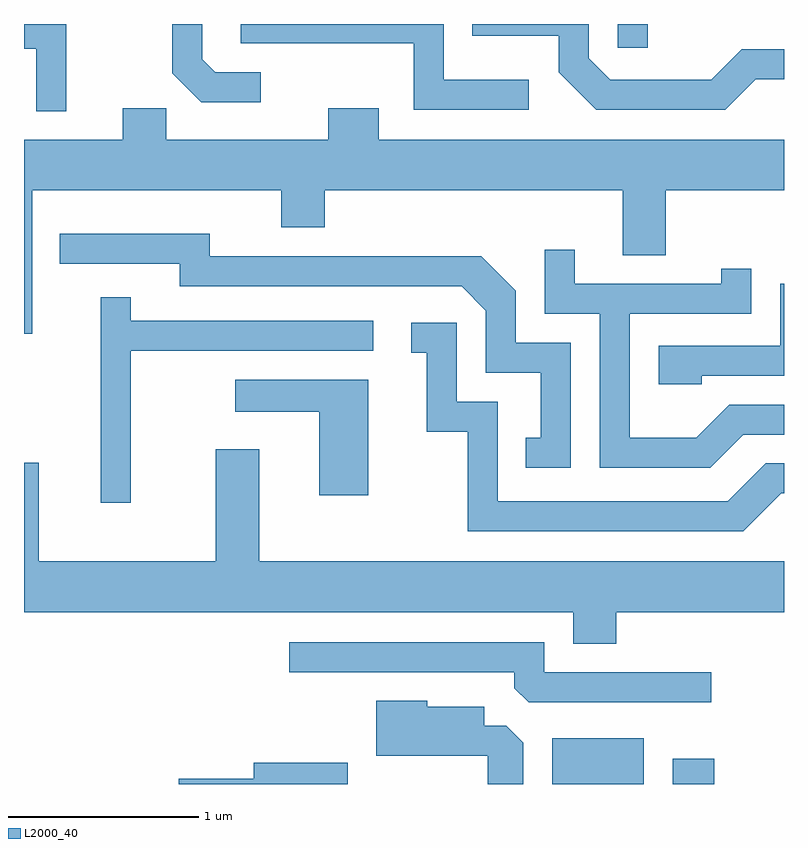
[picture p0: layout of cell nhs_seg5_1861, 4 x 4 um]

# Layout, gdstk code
import gdstk
lib = gdstk.Library(unit=1e-6, precision=1e-09)
def R(c, l, rs):  # rectangles x0, y0, x1, y1
    for r in rs: c.add(gdstk.rectangle(r[:2], r[2:], *l))
def P(c, l, *ps):  # polygons
    for p in ps: c.add(gdstk.Polygon(p, *l))
L2000_40 = (2000, 40)

nhs_seg5_1861 = lib.new_cell('nhs_seg5_1861')
R(nhs_seg5_1861, L2000_40, [(242.391,1498.072,242.874,1498.314), (243.026,1498.072,243.244,1498.204), (242.736,1501.948,242.894,1502.072)])
P(nhs_seg5_1861, L2000_40, [(240.858,1501.819),(240.617,1501.819),(240.549,1501.887),(240.549,1502.072),(240.391,1502.072),(240.391,1501.814),(240.544,1501.661),(240.858,1501.661)],
  [(239.834,1502.072),(239.611,1502.072),(239.611,1501.941),(239.676,1501.941),(239.676,1501.613),(239.834,1501.613)],
  [(242.268,1501.779),(241.819,1501.779),(241.819,1502.072),(240.751,1502.072),(240.751,1501.971),(241.661,1501.971),(241.661,1501.621),(242.268,1501.621)],
  [(243.462,1501.781),(243.611,1501.781),(243.611,1501.939),(243.389,1501.939),(243.229,1501.779),(242.697,1501.779),(242.584,1501.892),(242.584,1502.072),(241.971,1502.072),(241.971,1502.011),(242.426,1502.011),(242.426,1501.819),(242.624,1501.621),(243.302,1501.621)],
  [(239.654,1501.196),(240.966,1501.196),(240.966,1501.001),(241.194,1501.001),(241.194,1501.196),(242.761,1501.196),(242.761,1500.856),(242.989,1500.856),(242.989,1501.196),(243.611,1501.196),(243.611,1501.464),(241.479,1501.464),(241.479,1501.629),(241.211,1501.629),(241.211,1501.464),(240.359,1501.464),(240.359,1501.629),(240.131,1501.629),(240.131,1501.464),(239.611,1501.464),(239.611,1500.443),(239.654,1500.443)],
  [(242.489,1500.394),(242.199,1500.394),(242.199,1500.667),(242.017,1500.849),(240.589,1500.849),(240.589,1500.969),(239.798,1500.969),(239.798,1500.811),(240.431,1500.811),(240.431,1500.691),(241.914,1500.691),(242.041,1500.564),(242.041,1500.236),(242.331,1500.236),(242.331,1499.894),(242.253,1499.894),(242.253,1499.736),(242.489,1499.736)],
  [(243.397,1499.911),(243.611,1499.911),(243.611,1500.069),(243.324,1500.069),(243.149,1499.894),(242.799,1499.894),(242.799,1500.546),(243.439,1500.546),(243.439,1500.783),(243.281,1500.783),(243.281,1500.704),(242.509,1500.704),(242.509,1500.883),(242.351,1500.883),(242.351,1500.546),(242.641,1500.546),(242.641,1499.736),(243.222,1499.736)],
  [(243.179,1500.221),(243.611,1500.221),(243.611,1500.704),(243.591,1500.704),(243.591,1500.379),(242.951,1500.379),(242.951,1500.176),(243.179,1500.176)],
  [(240.174,1500.351),(241.448,1500.351),(241.448,1500.509),(240.174,1500.509),(240.174,1500.633),(240.016,1500.633),(240.016,1499.553),(240.174,1499.553)],
  [(243.597,1499.601),(243.611,1499.601),(243.611,1499.759),(243.514,1499.759),(243.314,1499.559),(242.104,1499.559),(242.104,1500.084),(241.889,1500.084),(241.889,1500.499),(241.648,1500.499),(241.648,1500.341),(241.731,1500.341),(241.731,1499.926),(241.946,1499.926),(241.946,1499.401),(243.397,1499.401)],
  [(241.424,1500.199),(240.723,1500.199),(240.723,1500.031),(241.166,1500.031),(241.166,1499.591),(241.424,1499.591)],
  [(242.729,1498.976),(243.611,1498.976),(243.611,1499.244),(240.849,1499.244),(240.849,1499.834),(240.621,1499.834),(240.621,1499.244),(239.689,1499.244),(239.689,1499.764),(239.611,1499.764),(239.611,1498.976),(242.501,1498.976),(242.501,1498.811),(242.729,1498.811)],
  [(243.228,1498.659),(242.349,1498.659),(242.349,1498.819),(241.008,1498.819),(241.008,1498.661),(242.191,1498.661),(242.191,1498.577),(242.267,1498.501),(243.228,1498.501)],
  [(242.239,1498.289),(242.149,1498.379),(242.034,1498.379),(242.034,1498.479),(241.734,1498.479),(241.734,1498.509),(241.466,1498.509),(241.466,1498.221),(242.051,1498.221),(242.051,1498.072),(242.239,1498.072)],
  [(241.314,1498.184),(240.821,1498.184),(240.821,1498.099),(240.426,1498.099),(240.426,1498.072),(241.314,1498.072)])

lib.write_gds('nhs_seg5_1861.gds')
